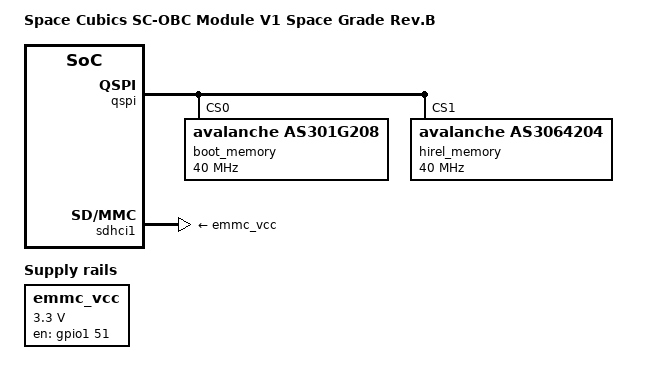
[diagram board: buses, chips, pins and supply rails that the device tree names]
// SPDX-License-Identifier: GPL-2.0
/*
 * Space Cubics SC-OBC Module V1
 * Copyright (C) 2026 Space Cubics Inc.
 */

#include "versal-scobc-v1-common.dtsi"

/ {
	model = "Space Cubics SC-OBC Module V1 Space Grade Rev.B";
	compatible = "sc,scobc-v1-revb", "sc,scobc-v1", "xlnx,versal";
};

&qspi {
	status = "okay";
	num-cs = <2>;

	/* CIPS uses Dual Stacked, but CS0 and CS1 are independent memories. */
	/delete-property/ is-stacked;
	/delete-property/ is-dual;

	/* Keep PLM fallback reads within the CS0 boot memory. */
	/delete-property/ xlnx,connection-mode;
	/delete-property/ xlnx,qspi-mode;
	xlnx,connection-mode = <0>;
	xlnx,qspi-mode = <0>;

	boot_memory: flash@0 {
		#address-cells = <1>;
		#size-cells = <1>;
		compatible = "avalanche,as301g208", "jedec,spi-nor";
		reg = <0>;
		spi-tx-bus-width = <1>;
		spi-rx-bus-width = <4>;
		spi-max-frequency = <40000000>;
	};

	hirel_memory: flash@1 {
		#address-cells = <1>;
		#size-cells = <1>;
		compatible = "avalanche,as3064204", "jedec,spi-nor";
		reg = <1>;
		spi-tx-bus-width = <1>;
		spi-rx-bus-width = <4>;
		spi-max-frequency = <40000000>;
	};
};

/ {
	emmc_vcc: regulator-emmc-vcc {
		compatible = "regulator-fixed";
		regulator-name = "emmc-vcc";
		regulator-min-microvolt = <3300000>;
		regulator-max-microvolt = <3300000>;
		gpio = <&gpio1 51 0>;
		enable-active-high;
		regulator-boot-on;
		startup-delay-us = <100000>;
		off-on-delay-us = <500000>;
	};
};

&sdhci1 {
	vmmc-supply = <&emmc_vcc>;
};
